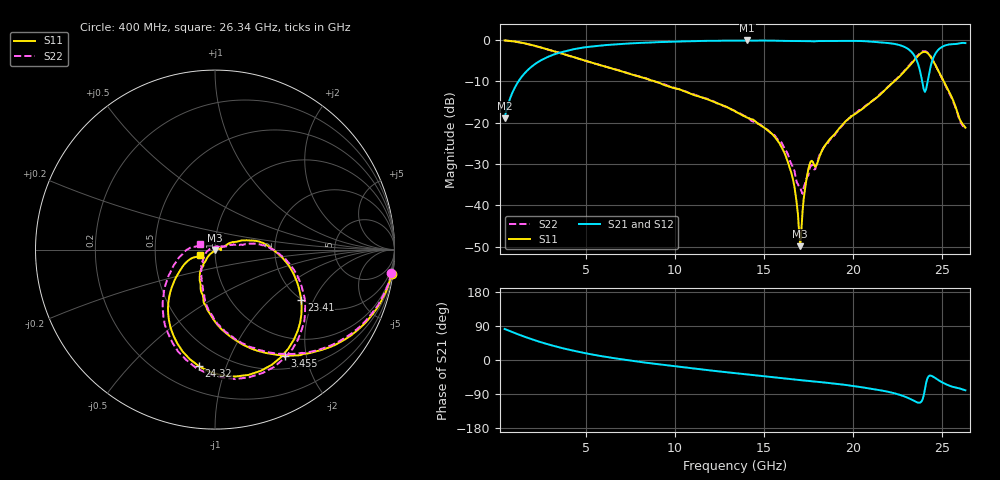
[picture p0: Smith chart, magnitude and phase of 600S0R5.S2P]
!  American Technical Ceramics  Date:  10/27/06
!  One Norden Lane
!  Huntington Station,  NY.  11746-2102
!  Tel:  (631) 622-4700  Fax:  (631) 622-4748
!  Part Number  600S0R5  Mounting Orientation: Horizontal
!  Description: Ultra Low ESR Microwave capacitors
!  Application: Coupling, Bypass, Tuning, DC Block
!  Filters, Matching
# GHZ S DB R 50
! Freq  |S11|  S11 Ph  |S21|  S21 Ph  |S12|  S12 Ph  |S22|  S22 Ph
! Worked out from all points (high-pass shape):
!   400 points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, 400 MHz to 26.34 GHz, reference 50 ohm
!   highest |S21| = -0.07 dB at 14.05 GHz (marker M1); lowest = -18.9 dB at 400 MHz (marker M2)
!   |S21| within 3 dB of the highest: 3.455 GHz to 23.35 GHz (19.9 GHz wide, 148 % of centre); 24.68 GHz to end of sweep
!   lowest |S11| = -49.9 dB at 17.04 GHz (marker M3), VSWR 1.01, Z = 50.2 - j0.27 ohm
!   |S11| at or under -10 dB: 8.857 GHz to 22.33 GHz (13.47 GHz wide, 86.4 % of centre); 25.12 GHz to end of sweep
!   |S22| runs from -37.2 to -0.1 dB; largest |S21 - S12| = 0.0073
!   S11 on the Smith chart (normalised r, x): 400 MHz: 1, -14; 3.455 GHz: 0.69, -1.63; 23.41 GHz: 1.98, -1.61; 24.32 GHz: 0.35, -0.81; 26.34 GHz: 0.85, -0.05
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0.4  -0.06 -7.9  -18.93 81.9  -18.93 81.8  -0.08 -7.7
1.44  -0.68 -27.2  -8.45 62.8  -8.47 62.8  -0.71 -26.5
3.455  -3.01 -56.7  -3.07 33.6  -3.08 33.5  -3.05 -55.6
4.755  -4.71 -70.5  -1.83 19.7  -1.83 19.8  -4.74 -69.8
9.045  -10.21 -100.9  -0.46 -11.2  -0.45 -11.2  -10.25 -98.9
13.4  -17.28 -125.1  -0.11 -35.0  -0.10 -35.1  -17.28 -123.7
14.05  -18.76 -125.8  -0.07 -38.1  -0.06 -38.3  -18.53 -130.1
16.195  -27.72 -137.5  -0.18 -49.1  -0.17 -49.3  -26.42 -167.1
16.715  -35.58 -131.3  -0.19 -51.5  -0.18 -51.8  -31.65 170.2
17.04  -49.92 -57.6  -0.21 -53.1  -0.19 -53.2  -35.72 127.9
17.235  -38.40 12.2  -0.21 -54.0  -0.19 -54.2  -35.69 83.5
17.69  -29.22 -2.9  -0.28 -56.1  -0.26 -56.4  -30.26 24.1
17.885  -30.70 0.4  -0.25 -56.6  -0.23 -56.8  -31.25 19.6
19.575  -19.70 23.4  -0.18 -65.7  -0.16 -66.0  -19.68 15.5
22.045  -11.08 6.4  -0.72 -84.5  -0.70 -84.8  -11.11 4.5
23.41  -5.10 -30.2  -3.40 -107.0  -3.40 -107.3  -4.89 -28.6
23.8  -3.27 -53.4  -7.82 -112.2  -7.80 -112.5  -3.06 -52.3
24.06  -2.82 -75.1  -12.53 -76.4  -12.51 -76.7  -2.66 -75.0
24.32  -3.66 -97.8  -7.40 -41.3  -7.39 -41.6  -3.50 -99.0
24.645  -6.00 -119.5  -3.27 -47.8  -3.26 -48.2  -5.96 -123.7
25.165  -10.39 -140.6  -1.32 -62.2  -1.31 -62.7  -10.52 -150.5
26.335  -21.21 -160.1  -0.70 -80.0  -0.69 -80.5  -21.10 159.4
